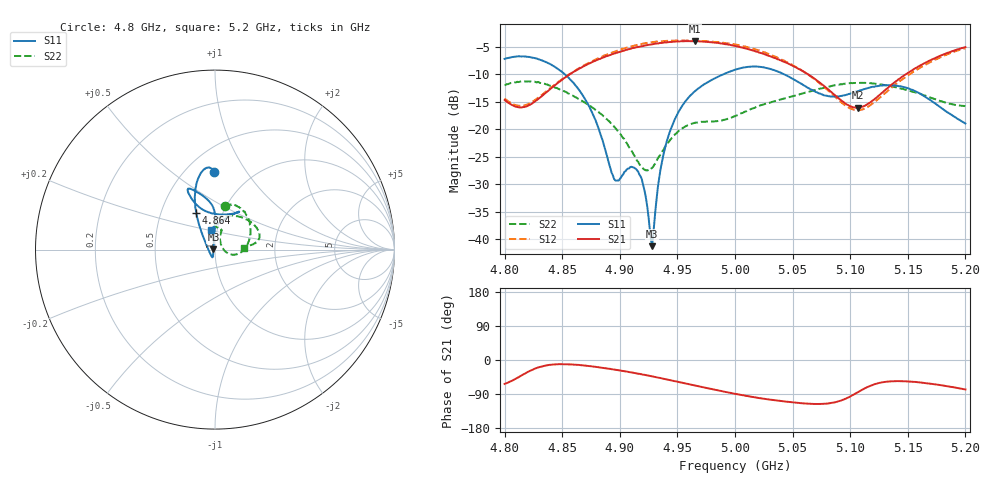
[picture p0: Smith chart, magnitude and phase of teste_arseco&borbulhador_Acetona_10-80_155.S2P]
! Network Analyzer HP8722D
! Hewlett-Packard
! Data name: Linha & Wilkinson
! Saver's name: Rodrigo Anjos
! Comments: Teste da utilização de aquisição
! continua pelo VNA HP8722D
! Time and date: 25/4/2025 16:33
!  Frequency  S11  S21  S12  S22
# HZ  S  MA R 50
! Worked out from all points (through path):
!   401 points, 4.8 GHz to 5.2 GHz, reference 50 ohm
!   highest |S21| = -3.99 dB at 4.965 GHz (marker M1); lowest = -16.1 dB at 5.107 GHz (marker M2)
!   lowest |S11| = -41.3 dB at 4.928 GHz (marker M3), VSWR 1.02, Z = 49.2 + j0.0715 ohm
!   |S11| at or under -10 dB: 4.852 GHz to 4.99 GHz (138 MHz wide, 2.81 % of centre); 5.042 GHz to end of sweep
!   |S22| runs from -27.6 to -11.3 dB; largest |S21 - S12| = 1.2
!   S11 on the Smith chart (normalised r, x): 4.8 GHz: 0.68, +0.73; 4.864 GHz: 0.75, +0.33; 5.2 GHz: 0.93, +0.21
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4.8e9  0.4348 90.7  0.184 -63.1  0.1889 70.4  0.2495 76.7
4.82e9  0.4534 97.0  0.1624 -31.6  0.1683 99.2  0.2716 61.0
4.844e9  0.366 106.9  0.2525 -11.5  0.2556 119.2  0.2375 35.1
4.864e9  0.2317 116.9  0.3508 -12.9  0.3546 120.9  0.1885 11.7
4.867e9  0.2088 118.7  0.3644 -14.0  0.37 120.5  0.1814 8.2
4.88e9  0.112 129.3  0.4246 -18.6  0.4353 118.2  0.1473 -5.4
4.895e9  0.03522 -174.4  0.4865 -25.1  0.5032 113.6  0.1055 -16.1
4.91e9  0.04541 -109.4  0.5404 -32.6  0.5652 106.8  0.06379 -13.2
4.917e9  0.03859 -105.8  0.562 -36.5  0.5898 103.2  0.04779 0.3
4.921e9  0.02883 -111.0  0.5742 -38.8  0.6019 101.1  0.04303 13.6
4.928e9  0.008602 175.1  0.5912 -43.1  0.6176 96.7  0.04423 42.4
4.934e9  0.03467 102.0  0.6042 -47.0  0.6289 93.0  0.05614 58.7
4.939e9  0.06552 94.1  0.6139 -50.2  0.6327 89.7  0.06825 65.5
4.946e9  0.1113 90.6  0.6224 -54.7  0.6377 85.3  0.0851 70.1
4.965e9  0.2199 91.2  0.6317 -67.2  0.6346 73.2  0.114 71.4
5e9  0.3468 109.0  0.5699 -89.3  0.5901 50.6  0.1308 88.2
5.03e9  0.354 115.2  0.4621 -104.5  0.4778 33.5  0.1736 85.1
5.067e9  0.227 105.3  0.2979 -115.8  0.295 23.6  0.2225 56.6
5.107e9  0.2215 64.2  0.1565 -84.2  0.1484 58.8  0.263 23.8
5.134e9  0.2505 57.4  0.2436 -56.5  0.2289 88.8  0.2474 12.2
5.169e9  0.1852 70.5  0.4202 -62.3  0.4045 84.7  0.1944 6.7
5.2e9  0.1123 101.2  0.5564 -77.8  0.5438 69.9  0.1614 3.6
